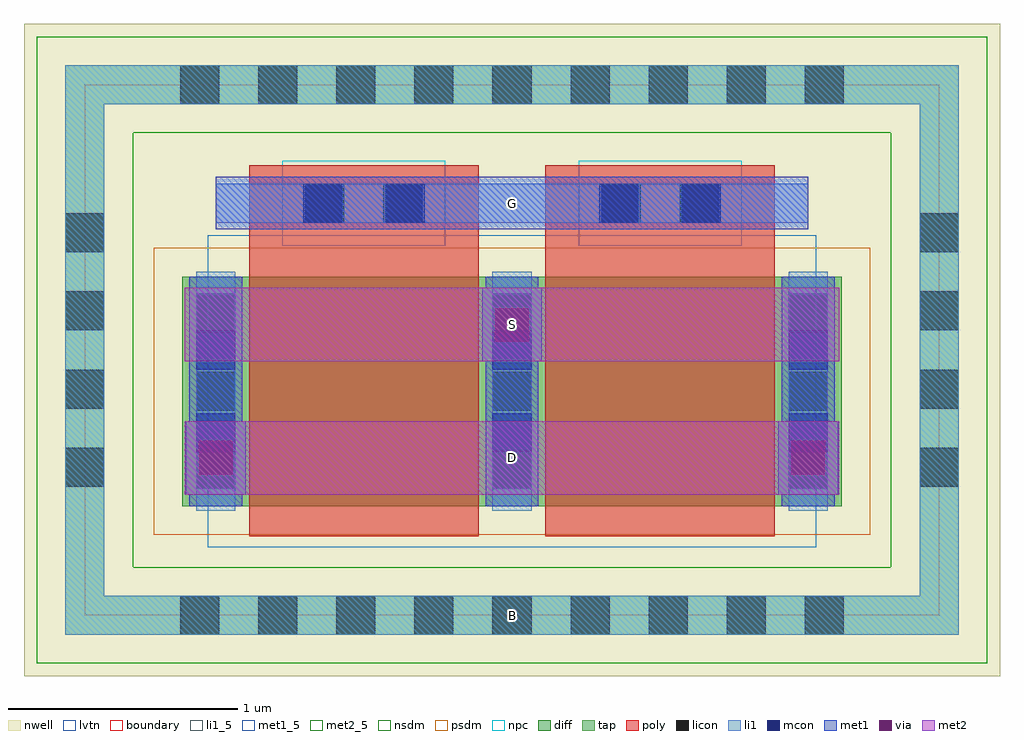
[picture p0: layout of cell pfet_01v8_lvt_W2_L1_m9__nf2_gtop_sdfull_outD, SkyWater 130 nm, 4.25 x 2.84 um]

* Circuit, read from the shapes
.subckt pfet_01v8_lvt_W2_L1_m9__nf2_gtop_sdfull_outD B D G S
XM1 S G D B sky130_fd_pr__pfet_01v8_lvt w=1 l=1 m=2
.ends

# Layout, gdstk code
import gdstk
lib = gdstk.Library(unit=1e-6, precision=1e-09)
def R(c, l, rs):  # rectangles x0, y0, x1, y1
    for r in rs: c.add(gdstk.rectangle(r[:2], r[2:], *l))
def A(c, l, x, y, w, h, nx, ny, dx, dy):  # array of equal rectangles
    R(c, l, [(x+i*dx, y+j*dy, x+i*dx+w, y+j*dy+h) for i in range(nx) for j in range(ny)])
nwell = (64, 20)
diff = (65, 20)
tap = (65, 44)
poly = (66, 20)
licon = (66, 44)
li1_5 = (67, 5)
li1 = (67, 20)
mcon = (67, 44)
met1_5 = (68, 5)
met1 = (68, 20)
via = (68, 44)
met2_5 = (69, 5)
met2 = (69, 20)
nsdm = (93, 44)
psdm = (94, 20)
npc = (95, 20)
lvtn = (125, 44)
boundary = (235, 4)

sky130_fd_pr__pfet_01v8_ = lib.new_cell('sky130_fd_pr__pfet_01v8_lvt_8PUW9H')
R(sky130_fd_pr__pfet_01v8_, nwell, [(-2.125,-1.42,2.125,1.42)])
R(sky130_fd_pr__pfet_01v8_, diff, [(-1.435,-0.68,1.435,0.32)])
R(sky130_fd_pr__pfet_01v8_, tap, [(-1.945,-1.24,1.945,-1.07), (-1.945,-1.07,-1.775,1.07), (1.775,-1.07,1.945,1.07), (-1.945,1.07,1.945,1.24)])
R(sky130_fd_pr__pfet_01v8_, poly, [(-1.145,-0.81,-0.145,0.805), (0.145,-0.81,1.145,0.805)])
A(sky130_fd_pr__pfet_01v8_, licon, -1.445, -1.24, 0.17, 0.17, 9, 2, 0.34, 2.31)
A(sky130_fd_pr__pfet_01v8_, licon, -1.375, -0.605, 0.17, 0.17, 3, 3, 1.29, 0.34)
A(sky130_fd_pr__pfet_01v8_, licon, -1.945, -0.595, 0.17, 0.17, 1, 4, 0, 0.34)
A(sky130_fd_pr__pfet_01v8_, licon, 1.775, -0.595, 0.17, 0.17, 1, 4, 0, 0.34)
R(sky130_fd_pr__pfet_01v8_, licon, [(-0.9,0.555,-0.73,0.725), (-0.56,0.555,-0.39,0.725), (0.39,0.555,0.56,0.725), (0.73,0.555,0.9,0.725)])
A(sky130_fd_pr__pfet_01v8_, li1, -1.375, -0.7, 0.17, 1.04, 3, 1, 1.29, 0)
R(sky130_fd_pr__pfet_01v8_, li1, [(-1.945,-1.24,1.945,-1.07), (-1.945,-1.07,-1.775,1.07), (1.775,-1.07,1.945,1.07), (-1.29,0.555,1.29,0.725), (-1.945,1.07,1.945,1.24)])
A(sky130_fd_pr__pfet_01v8_, mcon, -1.375, -0.445, 0.17, 0.17, 3, 2, 1.29, 0.36)
R(sky130_fd_pr__pfet_01v8_, mcon, [(-0.91,0.555,-0.74,0.725), (-0.55,0.555,-0.38,0.725), (0.38,0.555,0.55,0.725), (0.74,0.555,0.91,0.725)])
A(sky130_fd_pr__pfet_01v8_, met1, -1.405, -0.68, 0.23, 1, 3, 1, 1.29, 0)
R(sky130_fd_pr__pfet_01v8_, met1, [(-1.125,0.525,-0.165,0.555), (0.165,0.525,1.125,0.555), (-1.29,0.555,1.29,0.725), (-1.125,0.725,-0.165,0.755), (0.165,0.725,1.125,0.755)])
R(sky130_fd_pr__pfet_01v8_, nsdm, [(-2.07,-1.365,2.07,-0.945), (-2.07,-0.945,-1.65,0.945), (1.65,-0.945,2.07,0.945), (-2.07,0.945,2.07,1.365)])
R(sky130_fd_pr__pfet_01v8_, psdm, [(-1.56,-0.805,1.56,0.445)])
R(sky130_fd_pr__pfet_01v8_, npc, [(-1,0.455,-0.29,0.825), (0.29,0.455,1,0.825)])
R(sky130_fd_pr__pfet_01v8_, lvtn, [(-1.325,-0.86,1.325,0.5)])
R(sky130_fd_pr__pfet_01v8_, boundary, [(-1.86,-1.155,1.86,1.155)])
sky130_fd_pr__pfet_01v8_.add(gdstk.Label('B', (0,-1.155), layer=67, texttype=5))
sky130_fd_pr__pfet_01v8_.add(gdstk.Label('D0', (-1.29,-0.18), layer=67, texttype=5))
sky130_fd_pr__pfet_01v8_.add(gdstk.Label('G', (0.645,0.64), layer=67, texttype=5))
sky130_fd_pr__pfet_01v8_.add(gdstk.Label('G', (-0.645,0.64), layer=67, texttype=5))
sky130_fd_pr__pfet_01v8_.add(gdstk.Label('S1', (0,-0.18), layer=67, texttype=5))

pfet_01v8_lvt_w2_l1_m9__ = lib.new_cell('pfet_01v8_lvt_W2_L1_m9__nf2_gtop_sdfull_outD')
R(pfet_01v8_lvt_w2_l1_m9__, li1_5, [(1.775,-0.085,1.945,0.085)])
R(pfet_01v8_lvt_w2_l1_m9__, li1, [(1.775,-0.085,1.945,0.085)])
R(pfet_01v8_lvt_w2_l1_m9__, met1_5, [(0.57,1.68,3.15,1.91)])
R(pfet_01v8_lvt_w2_l1_m9__, met1, [(0.44,0.525,0.7,0.845), (3.02,0.525,3.28,0.845), (1.73,1.105,1.99,1.425), (0.57,1.68,3.15,1.91)])
R(pfet_01v8_lvt_w2_l1_m9__, via, [(0.495,0.61,0.645,0.76), (3.075,0.61,3.225,0.76), (1.785,1.19,1.935,1.34)])
R(pfet_01v8_lvt_w2_l1_m9__, met2_5, [(0.435,0.525,3.285,0.845), (0.435,1.105,3.285,1.425)])
R(pfet_01v8_lvt_w2_l1_m9__, met2, [(0.435,0.525,3.285,0.845), (0.435,1.105,3.285,1.425)])
pfet_01v8_lvt_w2_l1_m9__.add(gdstk.Reference(sky130_fd_pr__pfet_01v8_, (1.86,1.155)))
pfet_01v8_lvt_w2_l1_m9__.add(gdstk.Label('S', (1.86,1.265), layer=69, texttype=5))
pfet_01v8_lvt_w2_l1_m9__.add(gdstk.Label('D', (1.86,0.685), layer=69, texttype=5))
pfet_01v8_lvt_w2_l1_m9__.add(gdstk.Label('G', (1.86,1.795), layer=68, texttype=5))
pfet_01v8_lvt_w2_l1_m9__.add(gdstk.Label('B', (1.86,0), layer=67, texttype=5))

lib.write_gds('pfet_01v8_lvt_W2_L1_m9__nf2_gtop_sdfull_outD.gds')
